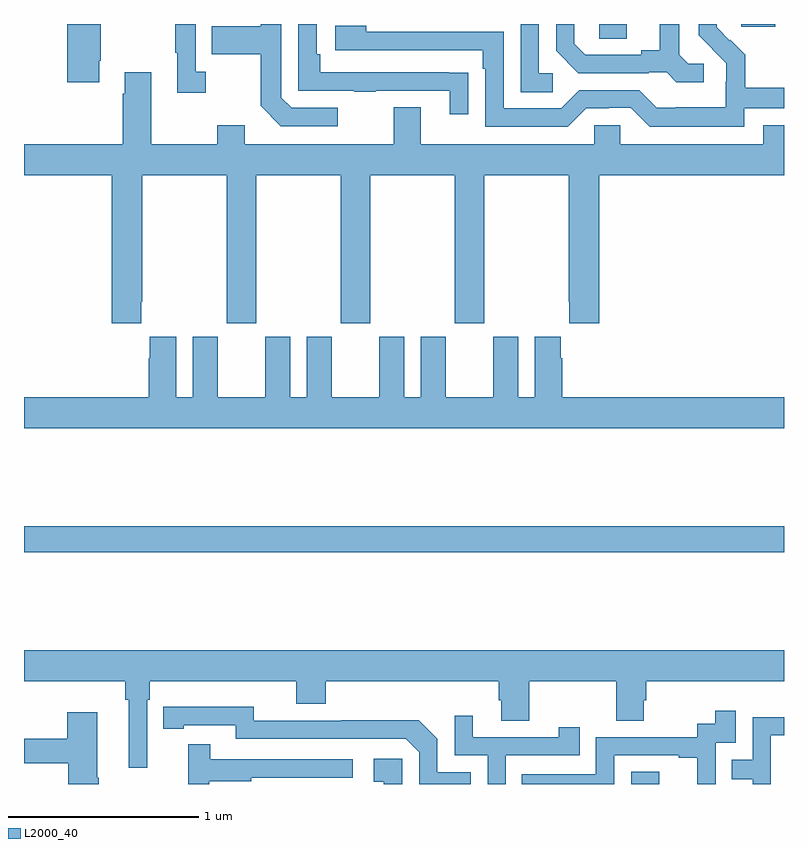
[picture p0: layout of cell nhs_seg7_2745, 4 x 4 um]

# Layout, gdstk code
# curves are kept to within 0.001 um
import gdstk
lib = gdstk.Library(unit=1e-6, precision=1e-09)
def R(c, l, rs):  # rectangles x0, y0, x1, y1
    for r in rs: c.add(gdstk.rectangle(r[:2], r[2:], *l))
def P(c, l, *ps):  # polygons
    for p in ps: c.add(gdstk.Polygon(p, *l))
L2000_40 = (2000, 40)

nhs_seg7_2745 = lib.new_cell('nhs_seg7_2745')
R(nhs_seg7_2745, L2000_40, [(290.196,1076,290.344,1076.065), (287,1077.22,291,1077.356), (290.028,1079.923,290.173,1080), (290.774,1079.985,290.953,1080)])
P(nhs_seg7_2745, L2000_40, [(287.395,1079.806),(287.403,1079.806),(287.403,1080),(287.228,1080),(287.228,1079.694),(287.395,1079.694)],
  [(289.783,1079.742),(289.71,1079.742),(289.71,1080),(289.614,1080),(289.614,1079.641),(289.783,1079.641)],
  [(289.337,1079.744),(289.235,1079.744),(289.235,1079.745),(288.56,1079.745),(288.56,1079.842),(288.54,1079.842),(288.54,1080),(288.444,1080),(288.444,1079.649),(288.739,1079.649),(288.739,1079.644),(288.851,1079.644),(288.851,1079.649),(289.241,1079.649),(289.241,1079.526),(289.337,1079.526)],
  [(290.79,1079.556),(291,1079.556),(291,1079.665),(290.795,1079.665),(290.795,1079.839),(290.718,1079.916),(290.715,1079.913),(290.645,1079.984),(290.645,1080),(290.55,1080),(290.55,1079.942),(290.696,1079.794),(290.696,1079.697),(290.694,1079.697),(290.694,1079.563),(290.431,1079.563),(290.431,1079.559),(290.331,1079.559),(290.238,1079.652),(289.923,1079.652),(289.827,1079.556),(289.524,1079.556),(289.524,1079.958),(288.8,1079.958),(288.8,1079.992),(288.639,1079.992),(288.639,1079.862),(289.415,1079.862),(289.415,1079.765),(289.428,1079.765),(289.428,1079.46),(289.863,1079.46),(289.959,1079.556),(290.078,1079.556),(290.078,1079.559),(290.193,1079.559),(290.293,1079.459),(290.79,1079.459)],
  [(290.578,1079.79),(290.496,1079.79),(290.449,1079.837),(290.449,1080),(290.345,1080),(290.345,1079.861),(290.249,1079.861),(290.249,1079.838),(289.954,1079.838),(289.897,1079.895),(289.897,1080),(289.8,1080),(289.8,1079.858),(289.916,1079.742),(290.288,1079.742),(290.288,1079.745),(290.382,1079.745),(290.434,1079.693),(290.578,1079.693)],
  [(287.956,1079.75),(287.904,1079.75),(287.904,1080),(287.796,1080),(287.796,1079.849),(287.807,1079.849),(287.807,1079.637),(287.956,1079.637)],
  [(288.652,1079.559),(288.408,1079.559),(288.354,1079.613),(288.354,1080),(288.246,1080),(288.246,1079.989),(287.989,1079.989),(287.989,1079.842),(288.246,1079.842),(288.246,1079.569),(288.351,1079.463),(288.652,1079.463)],
  [(288.163,1079.467),(288.016,1079.467),(288.016,1079.368),(287.671,1079.368),(287.671,1079.746),(287.531,1079.746),(287.531,1079.633),(287.519,1079.633),(287.519,1079.368),(287,1079.368),(287,1079.204),(287.462,1079.204),(287.462,1078.425),(287.617,1078.425),(287.617,1078.537),(287.622,1078.537),(287.622,1079.204),(288.067,1079.204),(288.067,1078.425),(288.222,1078.425),(288.222,1079.204),(288.667,1079.204),(288.667,1078.425),(288.822,1078.425),(288.822,1079.204),(289.267,1079.204),(289.267,1078.425),(289.422,1078.425),(289.422,1079.204),(289.867,1079.204),(289.867,1078.537),(289.871,1078.537),(289.871,1078.425),(290.027,1078.425),(290.027,1079.204),(291,1079.204),(291,1079.467),(290.891,1079.467),(290.891,1079.368),(290.139,1079.368),(290.139,1079.466),(290.001,1079.466),(290.001,1079.368),(289.087,1079.368),(289.087,1079.563),(288.947,1079.563),(288.947,1079.368),(288.163,1079.368)],
  [(291,1078.036),(289.832,1078.036),(289.832,1078.241),(289.825,1078.241),(289.825,1078.354),(289.688,1078.354),(289.688,1078.036),(289.6,1078.036),(289.6,1078.354),(289.469,1078.354),(289.469,1078.036),(289.219,1078.036),(289.219,1078.354),(289.088,1078.354),(289.088,1078.036),(289,1078.036),(289,1078.354),(288.869,1078.354),(288.869,1078.036),(288.619,1078.036),(288.619,1078.354),(288.488,1078.354),(288.488,1078.036),(288.4,1078.036),(288.4,1078.354),(288.269,1078.354),(288.269,1078.036),(288.019,1078.036),(288.019,1078.354),(287.888,1078.354),(287.888,1078.036),(287.8,1078.036),(287.8,1078.354),(287.663,1078.354),(287.663,1078.241),(287.657,1078.241),(287.657,1078.036),(287,1078.036),(287,1077.872),(291,1077.872)],
  [(287.649,1076.444),(287.663,1076.444),(287.663,1076.54),(288.434,1076.54),(288.434,1076.423),(288.587,1076.423),(288.587,1076.54),(289.499,1076.54),(289.499,1076.442),(289.511,1076.442),(289.511,1076.332),(289.659,1076.332),(289.659,1076.54),(290.116,1076.54),(290.116,1076.332),(290.263,1076.332),(290.263,1076.442),(290.276,1076.442),(290.276,1076.54),(291,1076.54),(291,1076.704),(287,1076.704),(287,1076.54),(287.533,1076.54),(287.533,1076.444),(287.552,1076.444),(287.552,1076.085),(287.649,1076.085)],
  [(289.35,1076.061),(289.176,1076.061),(289.176,1076.238),(289.078,1076.336),(288.67,1076.336),(288.67,1076.334),(288.21,1076.334),(288.21,1076.407),(287.734,1076.406),(287.734,1076.29),(287.842,1076.29),(287.842,1076.31),(288.114,1076.31),(288.114,1076.238),(289.008,1076.238),(289.08,1076.166),(289.08,1076),(289.35,1076)],
  [(290.106,1076.151),(290.447,1076.151),(290.447,1076.139),(290.543,1076.139),(290.543,1076),(290.64,1076),(290.64,1076.217),(290.745,1076.217),(290.745,1076.386),(290.637,1076.386),(290.637,1076.316),(290.544,1076.316),(290.544,1076.247),(290.01,1076.247),(290.01,1076.052),(289.621,1076.052),(289.621,1076),(290.106,1076)],
  [(287.394,1076.033),(287.386,1076.033),(287.386,1076.377),(287.228,1076.377),(287.228,1076.239),(287,1076.239),(287,1076.11),(287.233,1076.11),(287.233,1076),(287.394,1076)],
  [(289.536,1076.151),(289.925,1076.151),(289.925,1076.299),(289.814,1076.299),(289.814,1076.247),(289.363,1076.247),(289.363,1076.359),(289.266,1076.359),(289.266,1076.151),(289.44,1076.151),(289.44,1076),(289.536,1076)],
  [(290.931,1076.256),(291,1076.256),(291,1076.352),(290.835,1076.352),(290.835,1076.127),(290.725,1076.127),(290.725,1076.026),(290.835,1076.026),(290.835,1076),(290.931,1076)],
  [(287.974,1076.014),(288.197,1076.014),(288.197,1076.034),(288.73,1076.034),(288.73,1076.13),(287.981,1076.13),(287.981,1076.209),(287.864,1076.209),(287.864,1076),(287.974,1076)],
  [(288.99,1076.134),(288.84,1076.134),(288.84,1076.013),(288.893,1076.013),(288.893,1076),(288.99,1076)])

lib.write_gds('nhs_seg7_2745.gds')
